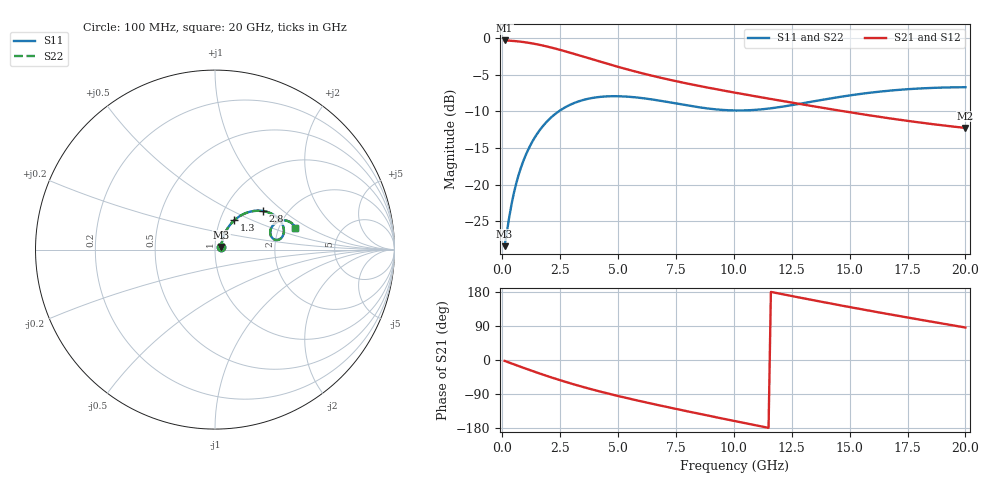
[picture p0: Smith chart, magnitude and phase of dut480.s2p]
! Touchstone file exported from HFSS 2024.1.0
!  File:  C:/UserFiles/LocalFiles/RDL_TSV_Batchsim/temp_RDL_TSV_480_1779732102.aedt
!  Generated:  02:21:20 AM May 26, 2026
!  Design:  RDL_TSV
!  Project:  temp_RDL_TSV_480_1779732102
!  Setup:  Setup1
!  Solution:  Sweep
! Variables:
!  dtsv = 5.26um
!  hbump = 3um
!  htsv = 98.81um
!  ldown = 650.27um
!  lrdl = 500.79um
!  p = 40
!  p1 = 52.64um
!  rhole = 10um
!  subl = 3953.97um
!  t = 450um
!  tdown = 3.17um
!  trdl = 4.55um
!  viad = 10um
!  wdown = 10.87um
!  wrdl = 11.83um
!  xbump = 18um
# GHz S MA R 50.000000
! Terminal data exported
! Port[1] = TM1_1_T1
! Port[2] = TM1_4_T1
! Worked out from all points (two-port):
!   200 points, 100 MHz to 20 GHz, reference 50 ohm
!   highest |S21| = -0.30 dB at 100 MHz (marker M1); lowest = -12.3 dB at 20 GHz (marker M2)
!   |S21| within 3 dB of the highest: start of sweep to 4.333 GHz
!   lowest |S11| = -28.4 dB at 100 MHz (marker M3), VSWR 1.08, Z = 53.6 + j1.64 ohm
!   |S11| at or under -10 dB: start of sweep to 2.438 GHz
!   |S22| runs from -28.4 to -6.7 dB; largest |S21 - S12| = 1.4e-14
!   S11 on the Smith chart (normalised r, x): 100 MHz: 1.07, +0.03; 1.3 GHz: 1.17, +0.40; 2.8 GHz: 1.51, +0.74; 20 GHz: 2.44, +0.76
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0.1  0.03788 23.9  0.9656 -2.3  0.9656 -2.3  0.03788 23.9
! Gamma 0 0 0 0
! Port Impedance 50 0 50 0
0.4  0.07339 54.0  0.9604 -9.2  0.9604 -9.2  0.07339 54.0
0.6  0.1015 58.5  0.9544 -13.7  0.9544 -13.7  0.1015 58.4
0.9  0.1435 59.3  0.9425 -20.3  0.9425 -20.3  0.1435 59.3
1.3  0.1967 56.5  0.9213 -29.0  0.9213 -29.0  0.1967 56.5
1.6  0.2333 53.4  0.902 -35.4  0.902 -35.4  0.2333 53.3
2  0.2767 48.6  0.8727 -43.6  0.8727 -43.6  0.2766 48.6
2.4  0.3132 43.7  0.8406 -51.5  0.8406 -51.5  0.3131 43.7
2.8  0.3428 38.9  0.8071 -59.0  0.8071 -59.0  0.3426 38.9
3.5  0.3786 31.1  0.7486 -71.4  0.7486 -71.4  0.3783 31.1
4.3  0.3982 23.5  0.686 -84.4  0.686 -84.4  0.3979 23.5
5.1  0.4009 17.5  0.6308 -96.5  0.6308 -96.5  0.4004 17.4
5.9  0.3921 13.0  0.5835 -107.8  0.5835 -107.8  0.3915 12.9
6.8  0.3743 9.9  0.5386 -119.9  0.5386 -119.9  0.3737 9.8
8.4  0.3391 9.3  0.4754 -140.6  0.4754 -140.6  0.3383 9.3
10.1  0.3207 14.5  0.4231 -161.9  0.4231 -161.9  0.3199 14.6
11.6  0.332 20.2  0.3842 179.7  0.3842 179.7  0.3312 20.3
13.4  0.3692 23.8  0.3434 158.1  0.3434 158.1  0.3686 23.9
15  0.4065 23.5  0.312 139.7  0.312 139.7  0.406 23.6
16.7  0.4379 21.1  0.2837 120.8  0.2837 120.8  0.4375 21.2
18.3  0.4557 18.2  0.262 103.6  0.262 103.6  0.4553 18.3
20  0.4626 15.3  0.2437 85.7  0.2437 85.7  0.4623 15.3
